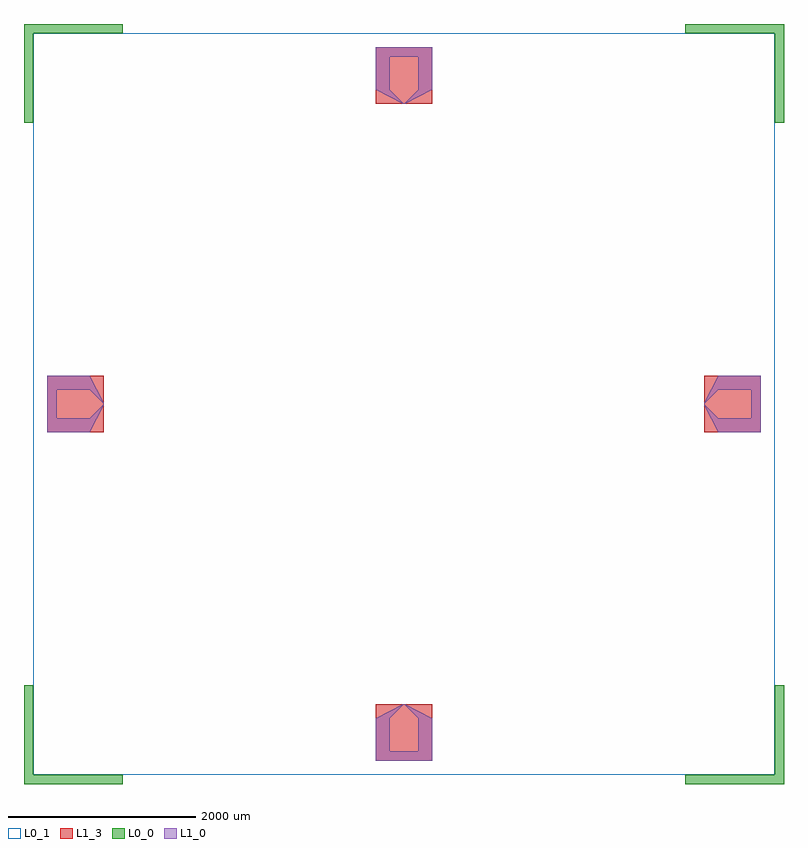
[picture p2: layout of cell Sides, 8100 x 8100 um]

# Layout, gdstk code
from math import pi, radians
import gdstk
lib = gdstk.Library(unit=1e-6, precision=1e-09)
def R(c, l, rs):  # rectangles x0, y0, x1, y1
    for r in rs: c.add(gdstk.rectangle(r[:2], r[2:], *l))
def P(c, l, *ps):  # polygons
    for p in ps: c.add(gdstk.Polygon(p, *l))
L0_0 = (0, 0)
L0_1 = (0, 1)
L1_0 = (1, 0)
L1_3 = (1, 3)

launcher = lib.new_cell('Launcher')
P(launcher, L1_0, [(-300,-300),(-300,150),(-11,300),(-5,300),(-150,150),(-150,-200),(150,-200),(150,150),(5,300),(11,300),(300,150),(300,-300)])
R(launcher, L1_3, [(-300,-300,300,300)])

sides = lib.new_cell('Sides')
P(sides, L0_0, [(-4050,-4050),(-4050,-3000),(-3950,-3000),(-3950,-3950),(-3000,-3950),(-3000,-4050)],
  [(3000,-4050),(3000,-3950),(3950,-3950),(3950,-3000),(4050,-3000),(4050,-4050)],
  [(-4050,3000),(-4050,4050),(-3000,4050),(-3000,3950),(-3950,3950),(-3950,3000)],
  [(3950,3000),(3950,3950),(3000,3950),(3000,4050),(4050,4050),(4050,3000)])
R(sides, L0_1, [(-3950,-3950,3950,3950)])
sides.add(gdstk.Reference(launcher, (0,3500), rotation=pi))
sides.add(gdstk.Reference(launcher, (0,-3500)))
sides.add(gdstk.Reference(launcher, (3500,0), rotation=pi/2))
sides.add(gdstk.Reference(launcher, (-3500,0), rotation=3*pi/2))

lib.write_gds('Sides.gds')
